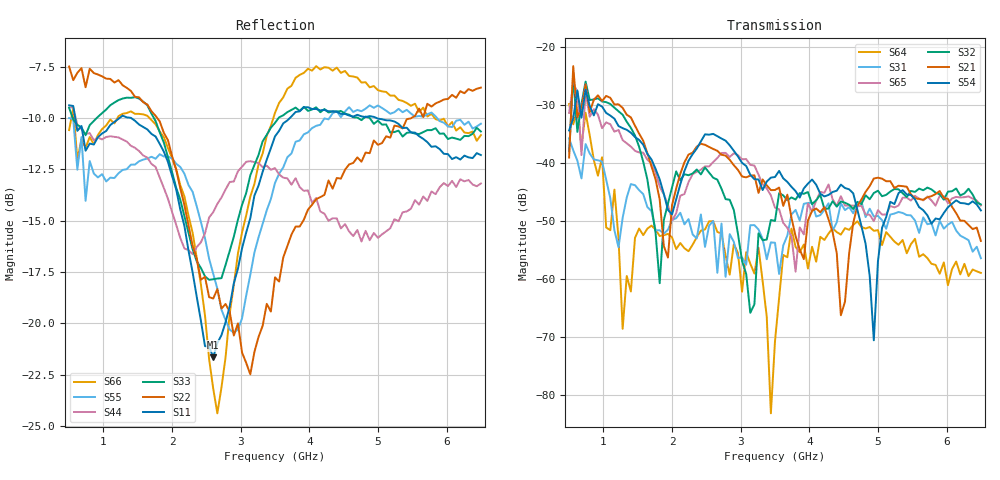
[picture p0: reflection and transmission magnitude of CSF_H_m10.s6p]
!Keysight Technologies,M9804A,MY58100912,A.14.10.03
!Date: Thursday, April 27, 2023 10:28:33
!Correction: S11(C  6-Port  )
!S12(C  6-Port  )
!S13(C  6-Port  )
!S14(C  6-Port  )
!S15(C  6-Port  )
!S16(C  6-Port  )
!S21(C  6-Port  )
!S22(C  6-Port  )
!S23(C  6-Port  )
!S24(C  6-Port  )
!S25(C  6-Port  )
!S26(C  6-Port  )
!S31(C  6-Port  )
!S32(C  6-Port  )
!S33(C  6-Port  )
!S34(C  6-Port  )
!S35(C  6-Port  )
!S36(C  6-Port  )
!S41(C  6-Port  )
!S42(C  6-Port  )
!S43(C  6-Port  )
!S44(C  6-Port  )
!S45(C  6-Port  )
!S46(C  6-Port  )
!S51(C  6-Port  )
!S52(C  6-Port  )
!S53(C  6-Port  )
!S54(C  6-Port  )
!S55(C  6-Port  )
!S56(C  6-Port  )
!S61(C  6-Port  )
!S62(C  6-Port  )
!S63(C  6-Port  )
!S64(C  6-Port  )
!S65(C  6-Port  )
!S66(C  6-Port  )
!S6P File: Measurement: :
# Hz S  RI  R 50
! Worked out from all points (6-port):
!   101 points, 500 MHz to 6.5 GHz, reference 50 ohm
!   strongest paths, dB at 500 MHz, 2 GHz, 3.5 GHz, 5 GHz, 6.5 GHz:
!     S54: -34.4, -48.8, -42.4, -56.9, -48.2
!     S21: -39.1, -47.2, -44.6, -42.5, -53.4
!     S32: -38.0, -44.2, -50.0, -44.8, -47.1
!     S65: -31.4, -49.9, -47.7, -48.1, -47.3
!     S31: -35.7, -49.8, -53.7, -49.1, -56.4
!     S64: -29.8, -52.8, -70.6, -51.5, -58.9
!   lowest |S11| = -21.7 dB at 2.6 GHz (marker M1), VSWR 1.18, Z = 42.6 + j2.03 ohm
!   |S11| at or under -10 dB: 588.8 MHz to 1.237 GHz (648.3 MHz wide, 71 % of centre); 1.401 GHz to 3.718 GHz (2.317 GHz wide, 90.5 % of centre); 4.975 GHz to end of sweep
